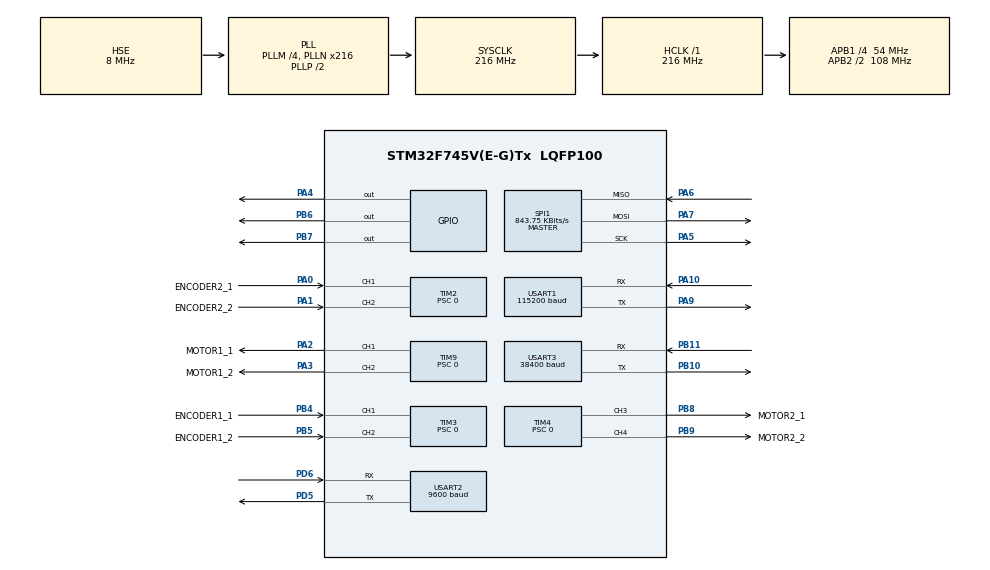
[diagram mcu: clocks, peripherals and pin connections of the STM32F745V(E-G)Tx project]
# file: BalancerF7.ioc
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Mcu.Family=STM32F7
Mcu.Name=STM32F745V(E-G)Tx
Mcu.Package=LQFP100
NVIC.PriorityGroup=NVIC_PRIORITYGROUP_4
NVIC.TIM2_IRQn=true\:0\:0\:false\:false\:true\:true
NVIC.TIM3_IRQn=true\:0\:0\:false\:false\:true\:true
NVIC.TIM5_IRQn=true\:0\:0\:false\:false\:true\:true
NVIC.USART1_IRQn=true\:0\:0\:false\:false\:true\:true
NVIC.USART3_IRQn=true\:0\:0\:false\:false\:true\:true
PA0/WKUP.GPIO_Label=ENCODER2_1
PA0/WKUP.GPIO_ModeDefaultPP=GPIO_MODE_AF_PP
PA0/WKUP.GPIO_PuPd=GPIO_NOPULL
PA0/WKUP.GPIO_Speed=GPIO_SPEED_FREQ_LOW
PA0/WKUP.Signal=S_TIM2_CH1_ETR
PA1.GPIO_Label=ENCODER2_2
PA1.GPIO_ModeDefaultPP=GPIO_MODE_AF_PP
PA1.GPIO_PuPd=GPIO_NOPULL
PA1.GPIO_Speed=GPIO_SPEED_FREQ_LOW
PA1.Signal=S_TIM2_CH2
PA10.Mode=Asynchronous
PA10.Signal=USART1_RX
PA13.Mode=Serial_Wire
PA13.Signal=SYS_JTMS-SWDIO
PA14.Mode=Serial_Wire
PA14.Signal=SYS_JTCK-SWCLK
PA2.GPIO_Label=MOTOR1_1
PA2.Signal=S_TIM9_CH1
PA3.GPIO_Label=MOTOR1_2
PA3.Signal=S_TIM9_CH2
PA4.GPIO_ModeDefaultOutputPP=GPIO_MODE_OUTPUT_PP
PA4.GPIO_PuPd=GPIO_NOPULL
PA4.GPIO_Speed=GPIO_SPEED_FREQ_LOW
PA4.PinState=GPIO_PIN_RESET
PA4.Signal=GPIO_Output
PA5.Mode=Full_Duplex_Master
PA5.Signal=SPI1_SCK
PA6.Mode=Full_Duplex_Master
PA6.Signal=SPI1_MISO
PA7.Mode=Full_Duplex_Master
PA7.Signal=SPI1_MOSI
PA9.Mode=Asynchronous
PA9.Signal=USART1_TX
PB10.Mode=Asynchronous
PB10.Signal=USART3_TX
PB11.GPIO_ModeDefaultPP=GPIO_MODE_AF_OD
PB11.GPIO_PuPd=GPIO_NOPULL
PB11.GPIO_Speed=GPIO_SPEED_FREQ_VERY_HIGH
PB11.Mode=Asynchronous
PB11.Signal=USART3_RX
PB4.GPIO_Label=ENCODER1_1
PB4.GPIO_ModeDefaultPP=GPIO_MODE_AF_PP
PB4.GPIO_PuPd=GPIO_NOPULL
PB4.GPIO_Speed=GPIO_SPEED_FREQ_LOW
PB4.Signal=S_TIM3_CH1
PB5.GPIO_Label=ENCODER1_2
PB5.GPIO_ModeDefaultPP=GPIO_MODE_AF_PP
PB5.GPIO_PuPd=GPIO_NOPULL
PB5.GPIO_Speed=GPIO_SPEED_FREQ_LOW
PB5.Signal=S_TIM3_CH2
PB6.GPIO_ModeDefaultOutputPP=GPIO_MODE_OUTPUT_PP
PB6.GPIO_PuPd=GPIO_NOPULL
PB6.GPIO_Speed=GPIO_SPEED_FREQ_LOW
PB6.PinState=GPIO_PIN_SET
PB6.Signal=GPIO_Output
PB7.GPIO_ModeDefaultOutputPP=GPIO_MODE_OUTPUT_PP
PB7.GPIO_PuPd=GPIO_NOPULL
PB7.GPIO_Speed=GPIO_SPEED_FREQ_LOW
PB7.PinState=GPIO_PIN_SET
PB7.Signal=GPIO_Output
PB8.GPIO_Label=MOTOR2_1
PB8.GPIO_ModeDefaultPP=GPIO_MODE_AF_PP
PB8.GPIO_PuPd=GPIO_NOPULL
PB8.GPIO_Speed=GPIO_SPEED_FREQ_LOW
PB8.Signal=S_TIM4_CH3
PB9.GPIO_Label=MOTOR2_2
PB9.GPIO_ModeDefaultPP=GPIO_MODE_AF_PP
PB9.GPIO_PuPd=GPIO_NOPULL
PB9.GPIO_Speed=GPIO_SPEED_FREQ_LOW
PB9.Signal=S_TIM4_CH4
PD5.Mode=Asynchronous
PD5.Signal=USART2_TX
PD6.Mode=Asynchronous
PD6.Signal=USART2_RX
PH0/OSC_IN.Mode=HSE-External-Oscillator
PH0/OSC_IN.Signal=RCC_OSC_IN
PH1/OSC_OUT.Mode=HSE-External-Oscillator
PH1/OSC_OUT.Signal=RCC_OSC_OUT
ProjectManager.HeapSize=0x400
ProjectManager.StackSize=0x800
ProjectManager.TargetToolchain=EWARM
RCC.AHBFreq_Value=216000000
RCC.APB1CLKDivider=RCC_HCLK_DIV4
RCC.APB1Freq_Value=54000000
RCC.APB1TimFreq_Value=108000000
RCC.APB2CLKDivider=RCC_HCLK_DIV2
RCC.APB2Freq_Value=108000000
RCC.APB2TimFreq_Value=216000000
RCC.CortexFreq_Value=216000000
RCC.HCLKFreq_Value=216000000
RCC.HSE_VALUE=8000000
RCC.HSI_VALUE=16000000
RCC.LSE_VALUE=32768
RCC.PLLM=4
RCC.PLLN=216
RCC.PLLSourceVirtual=RCC_PLLSOURCE_HSE
RCC.SYSCLKFreq_VALUE=216000000
RCC.SYSCLKSource=RCC_SYSCLKSOURCE_PLLCLK
RCC.USART1CLockSelection=RCC_USART1CLKSOURCE_SYSCLK
RCC.USART2CLockSelection=RCC_USART2CLKSOURCE_SYSCLK
RCC.USART3CLockSelection=RCC_USART3CLKSOURCE_SYSCLK
RCC.USBFreq_Value=216000000
RCC.VCOOutputFreq_Value=432000000
SH.S_TIM2_CH1_ETR.0=TIM2_CH1,Encoder_Interface
SH.S_TIM2_CH2.0=TIM2_CH2,Encoder_Interface
SH.S_TIM3_CH1.0=TIM3_CH1,Encoder_Interface
SH.S_TIM3_CH2.0=TIM3_CH2,Encoder_Interface
SH.S_TIM4_CH3.0=TIM4_CH3,PWM Generation3 CH3
SH.S_TIM4_CH4.0=TIM4_CH4,PWM Generation4 CH4
SH.S_TIM9_CH1.0=TIM9_CH1,PWM Generation1 CH1
SH.S_TIM9_CH2.0=TIM9_CH2,PWM Generation2 CH2
SPI1.BaudRatePrescaler=SPI_BAUDRATEPRESCALER_128
SPI1.CalculateBaudRate=843.75 KBits/s
SPI1.DataSize=SPI_DATASIZE_8BIT
SPI1.Direction=SPI_DIRECTION_2LINES
SPI1.Mode=SPI_MODE_MASTER
SPI1.VirtualType=VM_MASTER
TIM2.Channel-PWM\ Generation3\ CH3=TIM_CHANNEL_3
TIM2.Channel-PWM\ Generation4\ CH4=TIM_CHANNEL_4
TIM2.EncoderMode=TIM_ENCODERMODE_TI1
TIM2.IC1Filter=1
TIM2.IC2Filter=1
TIM2.Period=0xFFFF
TIM2.Prescaler=0
TIM3.EncoderMode=TIM_ENCODERMODE_TI1
TIM3.IC1Filter=1
TIM3.IC2Filter=1
TIM3.Period=0xFFFF
TIM3.Prescaler=0
TIM4.Channel-PWM\ Generation3\ CH3=TIM_CHANNEL_3
TIM4.Channel-PWM\ Generation4\ CH4=TIM_CHANNEL_4
TIM4.ClockDivision=TIM_CLOCKDIVISION_DIV1
TIM4.OCFastMode_PWM-PWM\ Generation3\ CH3=TIM_OCFAST_DISABLE
TIM4.OCFastMode_PWM-PWM\ Generation4\ CH4=TIM_OCFAST_DISABLE
TIM4.Period=0xFFFF
TIM4.Prescaler=0
TIM5.ClockDivision=TIM_CLOCKDIVISION_DIV1
TIM5.Period=0xFFFFFFFF
TIM5.Prescaler=107
TIM9.Channel-PWM\ Generation1\ CH1=TIM_CHANNEL_1
TIM9.Channel-PWM\ Generation2\ CH2=TIM_CHANNEL_2
TIM9.ClockDivision=TIM_CLOCKDIVISION_DIV1
TIM9.OCFastMode_PWM-PWM\ Generation1\ CH1=TIM_OCFAST_DISABLE
TIM9.OCFastMode_PWM-PWM\ Generation2\ CH2=TIM_OCFAST_DISABLE
TIM9.Period=0xFFFF
TIM9.Prescaler=0
USART1.BaudRate=115200
USART1.DMADisableonRxErrorParam=ADVFEATURE_DMA_ENABLEONRXERROR
USART1.OverrunDisableParam=ADVFEATURE_OVERRUN_ENABLE
USART1.VirtualMode-Asynchronous=VM_ASYNC
USART1.WordLength=WORDLENGTH_8B
USART2.AutoBaudRateEnableParam=UART_ADVFEATURE_AUTOBAUDRATE_DISABLE
USART2.BaudRate=9600
USART2.VirtualMode-Asynchronous=VM_ASYNC
USART2.WordLength=WORDLENGTH_8B
USART3.BaudRate=38400
USART3.VirtualMode-Asynchronous=VM_ASYNC
USART3.WordLength=WORDLENGTH_8B
VP_TIM4_VS_ClockSourceINT.Mode=Internal
VP_TIM5_VS_ClockSourceINT.Mode=Internal
VP_TIM9_VS_ClockSourceINT.Mode=Internal
board=BalancerF7

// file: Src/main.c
/**
  ******************************************************************************
  * @file           : main.c
  * @brief          : Main program body
  ******************************************************************************
  ** This notice applies to any and all portions of this file
  * that are not between comment pairs USER CODE BEGIN and
  * USER CODE END. Other portions of this file, whether
  * inserted by the user or by software development tools
  * are owned by their respective copyright owners.
  *
  * COPYRIGHT(c) 2018 STMicroelectronics
  *
  * Redistribution and use in source and binary forms, with or without modification,
  * are permitted provided that the following conditions are met:
  *   1. Redistributions of source code must retain the above copyright notice,
  *      this list of conditions and the following disclaimer.
  *   2. Redistributions in binary form must reproduce the above copyright notice,
  *      this list of conditions and the following disclaimer in the documentation
  *      and/or other materials provided with the distribution.
  *   3. Neither the name of STMicroelectronics nor the names of its contributors
  *      may be used to endorse or promote products derived from this software
  *      without specific prior written permission.
  *
  * THIS SOFTWARE IS PROVIDED BY THE COPYRIGHT HOLDERS AND CONTRIBUTORS "AS IS"
  * AND ANY EXPRESS OR IMPLIED WARRANTIES, INCLUDING, BUT NOT LIMITED TO, THE
  * IMPLIED WARRANTIES OF MERCHANTABILITY AND FITNESS FOR A PARTICULAR PURPOSE ARE
  * DISCLAIMED. IN NO EVENT SHALL THE COPYRIGHT HOLDER OR CONTRIBUTORS BE LIABLE
  * FOR ANY DIRECT, INDIRECT, INCIDENTAL, SPECIAL, EXEMPLARY, OR CONSEQUENTIAL
  * DAMAGES (INCLUDING, BUT NOT LIMITED TO, PROCUREMENT OF SUBSTITUTE GOODS OR
  * SERVICES; LOSS OF USE, DATA, OR PROFITS; OR BUSINESS INTERRUPTION) HOWEVER
  * CAUSED AND ON ANY THEORY OF LIABILITY, WHETHER IN CONTRACT, STRICT LIABILITY,
  * OR TORT (INCLUDING NEGLIGENCE OR OTHERWISE) ARISING IN ANY WAY OUT OF THE USE
  * OF THIS SOFTWARE, EVEN IF ADVISED OF THE POSSIBILITY OF SUCH DAMAGE.
  *
  ******************************************************************************
  */
#include "main.h"
#include "stm32f7xx_hal.h"

/* USER CODE BEGIN Includes */
#include "user.h"
#include "MPU6000.h"
#include "string.h"
/* USER CODE END Includes */

SPI_HandleTypeDef hspi1;

TIM_HandleTypeDef htim2;
TIM_HandleTypeDef htim3;
TIM_HandleTypeDef htim4;
TIM_HandleTypeDef htim5;
TIM_HandleTypeDef htim9;

UART_HandleTypeDef huart1;
UART_HandleTypeDef huart2;
UART_HandleTypeDef huart3;

/* USER CODE BEGIN PV */
#define MAX_TIMEOUT 500
/* Private variables ---------------------------------------------------------*/
uint8_t flag_1ms=0;
uint8_t flag_2ms=0;
uint8_t flag_10ms=0;
uint8_t flag_100ms=0;
uint16_t time_updates=0;
uint32_t SysTickCounter;
uint32_t time_left=0;
int32_t pseudo_position=0;
float pwm=0;

uint8_t cmd[]="AT+UART=115200,1,0\r\n";

enum ConnnectionState bluetooth = NO_CONNECTION;
enum SystemState state = WAITING;
/* USER CODE END PV */

void SystemClock_Config(void);
static void MX_GPIO_Init(void);
static void MX_SPI1_Init(void);
static void MX_TIM3_Init(void);
static void MX_TIM2_Init(void);
static void MX_TIM4_Init(void);
static void MX_USART3_UART_Init(void);
static void MX_USART1_UART_Init(void);
static void MX_TIM9_Init(void);
static void MX_USART2_UART_Init(void);
static void MX_TIM5_Init(void);

void HAL_TIM_MspPostInit(TIM_HandleTypeDef *htim);

/* USER CODE BEGIN PFP */
/* Private function prototypes -----------------------------------------------*/

/* USER CODE END PFP */

int main(void)
{

  /* MCU Configuration----------------------------------------------------------*/

  /* Reset of all peripherals, Initializes the Flash interface and the Systick. */
  HAL_Init();

  /* Configure the system clock */
  SystemClock_Config();

  /* Initialize all configured peripherals */
  MX_GPIO_Init();
  MX_SPI1_Init();
  MX_TIM3_Init();
  MX_TIM2_Init();
  MX_TIM4_Init();
  MX_USART3_UART_Init();
  MX_USART1_UART_Init();
  MX_TIM9_Init();
  MX_USART2_UART_Init();
  MX_TIM5_Init();
  /* USER CODE BEGIN 2 */
  initMPU6000(&hspi1);
  hspi1.Init.BaudRatePrescaler = SPI_BAUDRATEPRESCALER_8;
  HAL_SPI_Init(&hspi1);
  HAL_UART_Receive_IT(&huart1, pData, 1);

  //HAL_GPIO_WritePin(GPIOB, GPIO_PIN_3, GPIO_PIN_SET);

  /* USER CODE END 2 */

  /* Infinite loop */
  /* USER CODE BEGIN WHILE */
  HAL_TIM_Base_Start(&htim2);
  HAL_TIM_Base_Start(&htim3);
  HAL_TIM_Base_Start(&htim4);
  HAL_TIM_Base_Start(&htim5);
  HAL_TIM_Base_Start(&htim9);

  HAL_TIM_Encoder_Start_IT(&htim2,TIM_CHANNEL_1);
  HAL_TIM_Encoder_Start_IT(&htim2,TIM_CHANNEL_2);
  HAL_TIM_Encoder_Start_IT(&htim3,TIM_CHANNEL_1);
  HAL_TIM_Encoder_Start_IT(&htim3,TIM_CHANNEL_2);

  __HAL_TIM_ENABLE_IT(&htim2, TIM_IT_UPDATE);
  __HAL_TIM_ENABLE_IT(&htim3, TIM_IT_UPDATE);

  for (int i=0; i<3000; i++)
  {
    calibrateGyroData6000();
    HAL_Delay(1);
  }

  __ENABLE_LED1;

  HAL_TIM_PWM_Start(&htim4,TIM_CHANNEL_3);
  HAL_TIM_PWM_Start(&htim4,TIM_CHANNEL_4);
  HAL_TIM_PWM_Start(&htim9,TIM_CHANNEL_1);
  HAL_TIM_PWM_Start(&htim9,TIM_CHANNEL_2);

  //here goesnormal operation
  while (1)
  {
    if (flag_1ms)
    {
      readAccelGyroData6000();
      EstimateState1ms();
      flag_1ms=0;
    }
    if (flag_10ms)
    {
      GetVelocity();
      EstimateState10ms();
      control=ComputeControl();
      ApplyControl(control);
      flag_10ms=0;
    }

  }

  //here goes matlab-enabled operation, comment the previous section to run this mode
  while (1)
  {
  HAL_UART_Receive_IT(&huart1, pData, 1);
  /* USER CODE END WHILE */

  /* USER CODE BEGIN 3 */
  switch (state){
      case WAITING:
        switch (bluetooth){
          case NO_CONNECTION:
            state=WAITING;
          break;
          case GOOD_CONNECTION:
            state=STARTING;
          break;
        }
      break;

      case STARTING:
        HAL_TIM_PWM_Start(&htim4,TIM_CHANNEL_3);
        HAL_TIM_PWM_Start(&htim4,TIM_CHANNEL_4);
        HAL_TIM_PWM_Start(&htim9,TIM_CHANNEL_1);
        HAL_TIM_PWM_Start(&htim9,TIM_CHANNEL_2);
        state=WORKING;
      break;

      case WORKING:
        switch (bluetooth){
          case NO_CONNECTION:
            state=STOPPING;
          break;

          case GOOD_CONNECTION:
            if (flag_1ms){
              readAccelGyroData6000();
              EstimateState1ms();
              flag_1ms=0;
            }
            if (flag_10ms){
              GetVelocity();
              EstimateState10ms();
              control=ComputeControl();
              ApplyControl(control);
              SendToMatlab();
              flag_10ms=0;
            }
           /*
            if (flag_100ms){
              GetVelocity();
              SendToMatlabShort();
              flag_100ms=0;
            }
           */
            /*if (flag_10ms){
              //readAccelGyroData6000();
              //GetPosition();
              //GetVelocity();
              //CalculatePID();
              SendToMatlab();
              //SetMotorsPWM();
              flag_10ms=0;
            }*/
            state=WORKING;
          break;
        }
      break;

      case STOPPING:
        HAL_TIM_PWM_Stop(&htim4,TIM_CHANNEL_3);
        HAL_TIM_PWM_Stop(&htim4,TIM_CHANNEL_4);
        HAL_TIM_PWM_Stop(&htim9,TIM_CHANNEL_1);
        HAL_TIM_PWM_Stop(&htim9,TIM_CHANNEL_2);
        state=WAITING;
      break;
    }
  }
  /* USER CODE END 3 */

}

void SystemClock_Config(void)
{

  RCC_OscInitTypeDef RCC_OscInitStruct;
  RCC_ClkInitTypeDef RCC_ClkInitStruct;
  RCC_PeriphCLKInitTypeDef PeriphClkInitStruct;

    /**Configure the main internal regulator output voltage
    */
  __HAL_RCC_PWR_CLK_ENABLE();

  __HAL_PWR_VOLTAGESCALING_CONFIG(PWR_REGULATOR_VOLTAGE_SCALE1);

    /**Initializes the CPU, AHB and APB busses clocks
    */
  RCC_OscInitStruct.OscillatorType = RCC_OSCILLATORTYPE_HSE;
  RCC_OscInitStruct.HSEState = RCC_HSE_ON;
  RCC_OscInitStruct.PLL.PLLState = RCC_PLL_ON;
  RCC_OscInitStruct.PLL.PLLSource = RCC_PLLSOURCE_HSE;
  RCC_OscInitStruct.PLL.PLLM = 4;
  RCC_OscInitStruct.PLL.PLLN = 216;
  RCC_OscInitStruct.PLL.PLLP = RCC_PLLP_DIV2;
  RCC_OscInitStruct.PLL.PLLQ = 2;
  if (HAL_RCC_OscConfig(&RCC_OscInitStruct) != HAL_OK)
  {
    _Error_Handler(__FILE__, __LINE__);
  }

    /**Activate the Over-Drive mode
    */
  if (HAL_PWREx_EnableOverDrive() != HAL_OK)
  {
    _Error_Handler(__FILE__, __LINE__);
  }

    /**Initializes the CPU, AHB and APB busses clocks
    */
  RCC_ClkInitStruct.ClockType = RCC_CLOCKTYPE_HCLK|RCC_CLOCKTYPE_SYSCLK
                              |RCC_CLOCKTYPE_PCLK1|RCC_CLOCKTYPE_PCLK2;
  RCC_ClkInitStruct.SYSCLKSource = RCC_SYSCLKSOURCE_PLLCLK;
  RCC_ClkInitStruct.AHBCLKDivider = RCC_SYSCLK_DIV1;
  RCC_ClkInitStruct.APB1CLKDivider = RCC_HCLK_DIV4;
  RCC_ClkInitStruct.APB2CLKDivider = RCC_HCLK_DIV2;

  if (HAL_RCC_ClockConfig(&RCC_ClkInitStruct, FLASH_LATENCY_7) != HAL_OK)
  {
    _Error_Handler(__FILE__, __LINE__);
  }

  PeriphClkInitStruct.PeriphClockSelection = RCC_PERIPHCLK_USART1|RCC_PERIPHCLK_USART2
                              |RCC_PERIPHCLK_USART3;
  PeriphClkInitStruct.Usart1ClockSelection = RCC_USART1CLKSOURCE_SYSCLK;
  PeriphClkInitStruct.Usart2ClockSelection = RCC_USART2CLKSOURCE_SYSCLK;
  PeriphClkInitStruct.Usart3ClockSelection = RCC_USART3CLKSOURCE_SYSCLK;
  if (HAL_RCCEx_PeriphCLKConfig(&PeriphClkInitStruct) != HAL_OK)
  {
    _Error_Handler(__FILE__, __LINE__);
  }

    /**Configure the Systick interrupt time
    */
  HAL_SYSTICK_Config(HAL_RCC_GetHCLKFreq()/1000);

    /**Configure the Systick
    */
  HAL_SYSTICK_CLKSourceConfig(SYSTICK_CLKSOURCE_HCLK);

  /* SysTick_IRQn interrupt configuration */
  HAL_NVIC_SetPriority(SysTick_IRQn, 0, 0);
}

/* SPI1 init function */
static void MX_SPI1_Init(void)
{

  /* SPI1 parameter configuration*/
  hspi1.Instance = SPI1;
  hspi1.Init.Mode = SPI_MODE_MASTER;
  hspi1.Init.Direction = SPI_DIRECTION_2LINES;
  hspi1.Init.DataSize = SPI_DATASIZE_8BIT;
  hspi1.Init.CLKPolarity = SPI_POLARITY_LOW;
  hspi1.Init.CLKPhase = SPI_PHASE_1EDGE;
  hspi1.Init.NSS = SPI_NSS_SOFT;
  hspi1.Init.BaudRatePrescaler = SPI_BAUDRATEPRESCALER_128;
  hspi1.Init.FirstBit = SPI_FIRSTBIT_MSB;
  hspi1.Init.TIMode = SPI_TIMODE_DISABLE;
  hspi1.Init.CRCCalculation = SPI_CRCCALCULATION_DISABLE;
  hspi1.Init.CRCPolynomial = 7;
  hspi1.Init.CRCLength = SPI_CRC_LENGTH_DATASIZE;
  hspi1.Init.NSSPMode = SPI_NSS_PULSE_ENABLE;
  if (HAL_SPI_Init(&hspi1) != HAL_OK)
  {
    _Error_Handler(__FILE__, __LINE__);
  }

}

/* TIM2 init function */
static void MX_TIM2_Init(void)
{

  TIM_Encoder_InitTypeDef sConfig;
  TIM_MasterConfigTypeDef sMasterConfig;

  htim2.Instance = TIM2;
  htim2.Init.Prescaler = 0;
  htim2.Init.CounterMode = TIM_COUNTERMODE_UP;
  htim2.Init.Period = 0xFFFF;
  htim2.Init.ClockDivision = TIM_CLOCKDIVISION_DIV1;
  htim2.Init.AutoReloadPreload = TIM_AUTORELOAD_PRELOAD_DISABLE;
  sConfig.EncoderMode = TIM_ENCODERMODE_TI1;
  sConfig.IC1Polarity = TIM_ICPOLARITY_RISING;
  sConfig.IC1Selection = TIM_ICSELECTION_DIRECTTI;
  sConfig.IC1Prescaler = TIM_ICPSC_DIV1;
  sConfig.IC1Filter = 1;
  sConfig.IC2Polarity = TIM_ICPOLARITY_RISING;
  sConfig.IC2Selection = TIM_ICSELECTION_DIRECTTI;
  sConfig.IC2Prescaler = TIM_ICPSC_DIV1;
  sConfig.IC2Filter = 1;
  if (HAL_TIM_Encoder_Init(&htim2, &sConfig) != HAL_OK)
  {
    _Error_Handler(__FILE__, __LINE__);
  }

  sMasterConfig.MasterOutputTrigger = TIM_TRGO_RESET;
  sMasterConfig.MasterSlaveMode = TIM_MASTERSLAVEMODE_DISABLE;
  if (HAL_TIMEx_MasterConfigSynchronization(&htim2, &sMasterConfig) != HAL_OK)
  {
    _Error_Handler(__FILE__, __LINE__);
  }

}

/* TIM3 init function */
static void MX_TIM3_Init(void)
{

  TIM_Encoder_InitTypeDef sConfig;
  TIM_MasterConfigTypeDef sMasterConfig;

  htim3.Instance = TIM3;
  htim3.Init.Prescaler = 0;
  htim3.Init.CounterMode = TIM_COUNTERMODE_UP;
  htim3.Init.Period = 0xFFFF;
  htim3.Init.ClockDivision = TIM_CLOCKDIVISION_DIV1;
  htim3.Init.AutoReloadPreload = TIM_AUTORELOAD_PRELOAD_DISABLE;
  sConfig.EncoderMode = TIM_ENCODERMODE_TI1;
  sConfig.IC1Polarity = TIM_ICPOLARITY_RISING;
  sConfig.IC1Selection = TIM_ICSELECTION_DIRECTTI;
  sConfig.IC1Prescaler = TIM_ICPSC_DIV1;
  sConfig.IC1Filter = 1;
  sConfig.IC2Polarity = TIM_ICPOLARITY_RISING;
  sConfig.IC2Selection = TIM_ICSELECTION_DIRECTTI;
  sConfig.IC2Prescaler = TIM_ICPSC_DIV1;
  sConfig.IC2Filter = 1;
  if (HAL_TIM_Encoder_Init(&htim3, &sConfig) != HAL_OK)
  {
    _Error_Handler(__FILE__, __LINE__);
  }

  sMasterConfig.MasterOutputTrigger = TIM_TRGO_RESET;
  sMasterConfig.MasterSlaveMode = TIM_MASTERSLAVEMODE_DISABLE;
  if (HAL_TIMEx_MasterConfigSynchronization(&htim3, &sMasterConfig) != HAL_OK)
  {
    _Error_Handler(__FILE__, __LINE__);
  }

}

/* TIM4 init function */
static void MX_TIM4_Init(void)
{

  TIM_ClockConfigTypeDef sClockSourceConfig;
  TIM_MasterConfigTypeDef sMasterConfig;
  TIM_OC_InitTypeDef sConfigOC;

  htim4.Instance = TIM4;
  htim4.Init.Prescaler = 0;
  htim4.Init.CounterMode = TIM_COUNTERMODE_UP;
  htim4.Init.Period = 0xFFFF;
  htim4.Init.ClockDivision = TIM_CLOCKDIVISION_DIV1;
  htim4.Init.AutoReloadPreload = TIM_AUTORELOAD_PRELOAD_DISABLE;
  if (HAL_TIM_Base_Init(&htim4) != HAL_OK)
  {
    _Error_Handler(__FILE__, __LINE__);
  }

  sClockSourceConfig.ClockSource = TIM_CLOCKSOURCE_INTERNAL;
  if (HAL_TIM_ConfigClockSource(&htim4, &sClockSourceConfig) != HAL_OK)
  {
    _Error_Handler(__FILE__, __LINE__);
  }

  if (HAL_TIM_PWM_Init(&htim4) != HAL_OK)
  {
    _Error_Handler(__FILE__, __LINE__);
  }

  sMasterConfig.MasterOutputTrigger = TIM_TRGO_RESET;
  sMasterConfig.MasterSlaveMode = TIM_MASTERSLAVEMODE_DISABLE;
  if (HAL_TIMEx_MasterConfigSynchronization(&htim4, &sMasterConfig) != HAL_OK)
  {
    _Error_Handler(__FILE__, __LINE__);
  }

  sConfigOC.OCMode = TIM_OCMODE_PWM1;
  sConfigOC.Pulse = 0;
  sConfigOC.OCPolarity = TIM_OCPOLARITY_HIGH;
  sConfigOC.OCFastMode = TIM_OCFAST_DISABLE;
  if (HAL_TIM_PWM_ConfigChannel(&htim4, &sConfigOC, TIM_CHANNEL_3) != HAL_OK)
  {
    _Error_Handler(__FILE__, __LINE__);
  }

  if (HAL_TIM_PWM_ConfigChannel(&htim4, &sConfigOC, TIM_CHANNEL_4) != HAL_OK)
  {
    _Error_Handler(__FILE__, __LINE__);
  }

  HAL_TIM_MspPostInit(&htim4);

}

/* TIM5 init function */
static void MX_TIM5_Init(void)
{

  TIM_ClockConfigTypeDef sClockSourceConfig;
  TIM_MasterConfigTypeDef sMasterConfig;

  htim5.Instance = TIM5;
  htim5.Init.Prescaler = 107;
  htim5.Init.CounterMode = TIM_COUNTERMODE_UP;
  htim5.Init.Period = 0xFFFFFFFF;
  htim5.Init.ClockDivision = TIM_CLOCKDIVISION_DIV1;
  htim5.Init.AutoReloadPreload = TIM_AUTORELOAD_PRELOAD_DISABLE;
  if (HAL_TIM_Base_Init(&htim5) != HAL_OK)
  {
    _Error_Handler(__FILE__, __LINE__);
  }

  sClockSourceConfig.ClockSource = TIM_CLOCKSOURCE_INTERNAL;
  if (HAL_TIM_ConfigClockSource(&htim5, &sClockSourceConfig) != HAL_OK)
  {
    _Error_Handler(__FILE__, __LINE__);
  }

  sMasterConfig.MasterOutputTrigger = TIM_TRGO_RESET;
  sMasterConfig.MasterSlaveMode = TIM_MASTERSLAVEMODE_DISABLE;
  if (HAL_TIMEx_MasterConfigSynchronization(&htim5, &sMasterConfig) != HAL_OK)
  {
    _Error_Handler(__FILE__, __LINE__);
  }

}

/* TIM9 init function */
static void MX_TIM9_Init(void)
{

  TIM_ClockConfigTypeDef sClockSourceConfig;
  TIM_OC_InitTypeDef sConfigOC;

  htim9.Instance = TIM9;
  htim9.Init.Prescaler = 0;
  htim9.Init.CounterMode = TIM_COUNTERMODE_UP;
  htim9.Init.Period = 0xFFFF;
  htim9.Init.ClockDivision = TIM_CLOCKDIVISION_DIV1;
  htim9.Init.AutoReloadPreload = TIM_AUTORELOAD_PRELOAD_DISABLE;
  if (HAL_TIM_Base_Init(&htim9) != HAL_OK)
  {
    _Error_Handler(__FILE__, __LINE__);
  }

  sClockSourceConfig.ClockSource = TIM_CLOCKSOURCE_INTERNAL;
  if (HAL_TIM_ConfigClockSource(&htim9, &sClockSourceConfig) != HAL_OK)
  {
    _Error_Handler(__FILE__, __LINE__);
  }

  if (HAL_TIM_PWM_Init(&htim9) != HAL_OK)
  {
    _Error_Handler(__FILE__, __LINE__);
  }

  sConfigOC.OCMode = TIM_OCMODE_PWM1;
  sConfigOC.Pulse = 0;
  sConfigOC.OCPolarity = TIM_OCPOLARITY_HIGH;
  sConfigOC.OCFastMode = TIM_OCFAST_DISABLE;
  if (HAL_TIM_PWM_ConfigChannel(&htim9, &sConfigOC, TIM_CHANNEL_1) != HAL_OK)
  {
    _Error_Handler(__FILE__, __LINE__);
  }

  if (HAL_TIM_PWM_ConfigChannel(&htim9, &sConfigOC, TIM_CHANNEL_2) != HAL_OK)
  {
    _Error_Handler(__FILE__, __LINE__);
  }

  HAL_TIM_MspPostInit(&htim9);

}

/* USART1 init function */
static void MX_USART1_UART_Init(void)
{

  huart1.Instance = USART1;
  huart1.Init.BaudRate = 115200;
  huart1.Init.WordLength = UART_WORDLENGTH_8B;
  huart1.Init.StopBits = UART_STOPBITS_1;
  huart1.Init.Parity = UART_PARITY_NONE;
  huart1.Init.Mode = UART_MODE_TX_RX;
  huart1.Init.HwFlowCtl = UART_HWCONTROL_NONE;
  huart1.Init.OverSampling = UART_OVERSAMPLING_16;
  huart1.Init.OneBitSampling = UART_ONE_BIT_SAMPLE_DISABLE;
  huart1.AdvancedInit.AdvFeatureInit = UART_ADVFEATURE_NO_INIT;
  if (HAL_UART_Init(&huart1) != HAL_OK)
  {
    _Error_Handler(__FILE__, __LINE__);
  }

}

/* USART2 init function */
static void MX_USART2_UART_Init(void)
{

  huart2.Instance = USART2;
  huart2.Init.BaudRate = 9600;
  huart2.Init.WordLength = UART_WORDLENGTH_8B;
  huart2.Init.StopBits = UART_STOPBITS_1;
  huart2.Init.Parity = UART_PARITY_NONE;
  huart2.Init.Mode = UART_MODE_TX_RX;
  huart2.Init.HwFlowCtl = UART_HWCONTROL_NONE;
  huart2.Init.OverSampling = UART_OVERSAMPLING_16;
  huart2.Init.OneBitSampling = UART_ONE_BIT_SAMPLE_DISABLE;
  huart2.AdvancedInit.AdvFeatureInit = UART_ADVFEATURE_NO_INIT;
  if (HAL_UART_Init(&huart2) != HAL_OK)
  {
    _Error_Handler(__FILE__, __LINE__);
  }

}

/* USART3 init function */
static void MX_USART3_UART_Init(void)
{

  huart3.Instance = USART3;
  huart3.Init.BaudRate = 38400;
  huart3.Init.WordLength = UART_WORDLENGTH_8B;
  huart3.Init.StopBits = UART_STOPBITS_1;
  huart3.Init.Parity = UART_PARITY_NONE;
  huart3.Init.Mode = UART_MODE_TX_RX;
  huart3.Init.HwFlowCtl = UART_HWCONTROL_NONE;
  huart3.Init.OverSampling = UART_OVERSAMPLING_16;
  huart3.Init.OneBitSampling = UART_ONE_BIT_SAMPLE_DISABLE;
  huart3.AdvancedInit.AdvFeatureInit = UART_ADVFEATURE_NO_INIT;
  if (HAL_UART_Init(&huart3) != HAL_OK)
  {
    _Error_Handler(__FILE__, __LINE__);
  }

}

/** Configure pins as
        * Analog
        * Input
        * Output
        * EVENT_OUT
        * EXTI
*/
static void MX_GPIO_Init(void)
{

  GPIO_InitTypeDef GPIO_InitStruct;

  /* GPIO Ports Clock Enable */
  __HAL_RCC_GPIOH_CLK_ENABLE();
  __HAL_RCC_GPIOA_CLK_ENABLE();
  __HAL_RCC_GPIOB_CLK_ENABLE();
  __HAL_RCC_GPIOD_CLK_ENABLE();

  /*Configure GPIO pin Output Level */
  HAL_GPIO_WritePin(GPIOA, GPIO_PIN_4, GPIO_PIN_RESET);

  /*Configure GPIO pin Output Level */
  HAL_GPIO_WritePin(GPIOB, GPIO_PIN_6|GPIO_PIN_7, GPIO_PIN_SET);

  /*Configure GPIO pin : PA4 */
  GPIO_InitStruct.Pin = GPIO_PIN_4;
  GPIO_InitStruct.Mode = GPIO_MODE_OUTPUT_PP;
  GPIO_InitStruct.Pull = GPIO_NOPULL;
  GPIO_InitStruct.Speed = GPIO_SPEED_FREQ_LOW;
  HAL_GPIO_Init(GPIOA, &GPIO_InitStruct);

  /*Configure GPIO pins : PB6 PB7 */
  GPIO_InitStruct.Pin = GPIO_PIN_6|GPIO_PIN_7;
  GPIO_InitStruct.Mode = GPIO_MODE_OUTPUT_PP;
  GPIO_InitStruct.Pull = GPIO_NOPULL;
  GPIO_InitStruct.Speed = GPIO_SPEED_FREQ_LOW;
  HAL_GPIO_Init(GPIOB, &GPIO_InitStruct);

}

/* USER CODE BEGIN 4 */

void HAL_UART_RxCpltCallback(UART_HandleTypeDef *huart)
{
  if(huart==&huart1){
    uint8_t byte = (uint8_t)huart->Instance->RDR;
    BufferPush(byte);
    if (byte==']'){
      if (BufferPull(RECEIVE_PACKET_LENGTH)=='['){
        if (ParsePacket())
        {
          time_left=MAX_TIMEOUT;
        }
      }
    }
    HAL_UART_Receive_IT(&huart1, pData, 1);
  }
}

void HAL_TIM_PeriodElapsedCallback(TIM_HandleTypeDef *htim)
{
  if(htim==&htim2){
    if(__HAL_TIM_IS_TIM_COUNTING_DOWN(&htim2)){
      changes_of_sign[1]-=1;
    }
    else{
      changes_of_sign[1]+=1;
    }
  }
  else if(htim==&htim3){
    if(__HAL_TIM_IS_TIM_COUNTING_DOWN(&htim3)){
      changes_of_sign[0]-=1;
    }
    else{
      changes_of_sign[0]+=1;
    }
  }
  /*else if(htim==&htim5){
    time_updates+=1;
  }*/
}

void HAL_TIM_IC_CaptureCallback(TIM_HandleTypeDef *htim)
{
  if(htim==&htim2){
    cnt_at_last_pulse[1]=__HAL_TIM_GET_COUNTER(&htim5);
    pulse_sign[1]=1-2*__HAL_TIM_IS_TIM_COUNTING_DOWN(&htim2);

  }
  else if(htim==&htim3){
    cnt_at_last_pulse[0]=__HAL_TIM_GET_COUNTER(&htim5);
    pulse_sign[0]=1-2*__HAL_TIM_IS_TIM_COUNTING_DOWN(&htim3);
  }
}

void HAL_UART_TxCpltCallback(UART_HandleTypeDef *huart)
{
  __NOP();
}

void HAL_SYSTICK_Callback(void)
{
  SysTickCounter++;
  flag_1ms=1;

  if (!(SysTickCounter%2)) flag_2ms=1;
  if (!(SysTickCounter%10)) flag_10ms=1;
  if (!(SysTickCounter%100)) flag_100ms=1;

  if (time_left>0)
  {
    bluetooth=GOOD_CONNECTION;
    time_left--;
  }
  else
  {
    bluetooth=NO_CONNECTION;
    time_left=0;
  }
}

/* USER CODE END 4 */

void _Error_Handler(char *file, int line)
{
  while(1)
  {
  }
}

/************************ (C) COPYRIGHT STMicroelectronics *****END OF FILE****/
